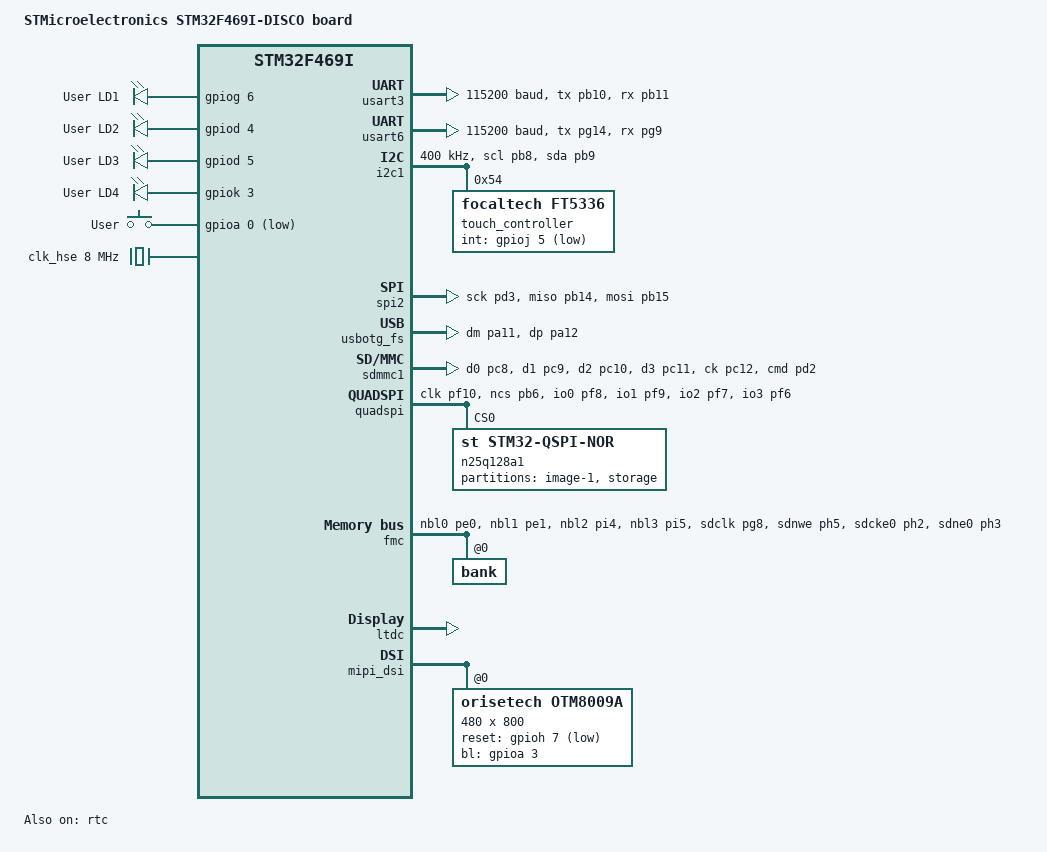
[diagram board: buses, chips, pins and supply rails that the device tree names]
/*
 * Copyright (c) 2017 Linaro Limited
 *
 * SPDX-License-Identifier: Apache-2.0
 */

/dts-v1/;
#include <st/f4/stm32f469Xi.dtsi>
#include <st/f4/stm32f469nihx-pinctrl.dtsi>
#include "arduino_r3_connector.dtsi"

/ {
	model = "STMicroelectronics STM32F469I-DISCO board";
	compatible = "st,stm32f469i-disco";

	chosen {
		zephyr,console = &usart3;
		zephyr,shell-uart = &usart3;
		zephyr,sram = &sram0;
		zephyr,flash = &flash0;
		zephyr,ccm = &ccm0;
		zephyr,flash-controller = &n25q128a1;
		zephyr,display = &ltdc;
		zephyr,keyboard-scan = &touch_controller;
	};

	leds {
		compatible = "gpio-leds";
		green_led_1: led_1 {
			gpios = <&gpiog 6 GPIO_ACTIVE_HIGH>;
			label = "User LD1";
		};
		orange_led_2: led_2 {
			gpios = <&gpiod 4 GPIO_ACTIVE_HIGH>;
			label = "User LD2";
		};
		red_led_3: led_3 {
			gpios = <&gpiod 5 GPIO_ACTIVE_HIGH>;
			label = "User LD3";
		};
		blue_led_4: led_4 {
			gpios = <&gpiok 3 GPIO_ACTIVE_HIGH>;
			label = "User LD4";
		};
	};

	gpio_keys {
		compatible = "gpio-keys";
		user_button: button {
			label = "User";
			gpios = <&gpioa 0 GPIO_ACTIVE_LOW>;
		};
	};

	sdram1: sdram@c0000000 {
		compatible = "zephyr,memory-region", "mmio-sram";
		device_type = "memory";
		reg = <0xc0000000 DT_SIZE_M(16)>;
		zephyr,memory-region = "SDRAM1";
	};

	aliases {
		led0 = &green_led_1;
		led1 = &orange_led_2;
		led2 = &red_led_3;
		led3 = &blue_led_4;
		sw0 = &user_button;
		kscan0 = &touch_controller;
		spi-flash0 = &n25q128a1;
	};
};

&clk_lsi {
	status = "okay";
};

&clk_hse {
	clock-frequency = <DT_FREQ_M(8)>;
	status = "okay";
};

&pll {
	div-m = <4>;
	mul-n = <180>;
	div-p = <2>;
	div-q = <6>;
	clocks = <&clk_hse>;
	status = "okay";
};

&pllsai {
	div-m = <4>;
	mul-n = <144>;
	div-p = <6>;
	div-q = <2>;
	div-r = <2>;
	clocks = <&clk_hse>;
	status = "okay";
};

&rcc {
	clocks = <&pll>;
	clock-frequency = <DT_FREQ_M(168)>;
	ahb-prescaler = <1>;
	apb1-prescaler = <4>;
	apb2-prescaler = <2>;
};

&usart3 {
	pinctrl-0 = <&usart3_tx_pb10 &usart3_rx_pb11>;
	pinctrl-names = "default";
	current-speed = <115200>;
	status = "okay";
};

&usart6 {
	pinctrl-0 = <&usart6_tx_pg14 &usart6_rx_pg9>;
	pinctrl-names = "default";
	current-speed = <115200>;
	status = "okay";
};

&i2c1 {
	pinctrl-0 = <&i2c1_scl_pb8 &i2c1_sda_pb9>;
	pinctrl-names = "default";
	status = "okay";
	clock-frequency = <I2C_BITRATE_FAST>;

	touch_controller: ft5336@54 {
		compatible = "focaltech,ft5336";
		reg = <0x54>;
		int-gpios = <&gpioj 5 GPIO_ACTIVE_LOW>;
	};
};

&spi2 {
	pinctrl-0 = <&spi2_sck_pd3 &spi2_miso_pb14 &spi2_mosi_pb15>;
	pinctrl-names = "default";
	cs-gpios = <&gpioh 6 (GPIO_ACTIVE_LOW | GPIO_PULL_UP)>;
	status = "okay";
};

zephyr_udc0: &usbotg_fs {
	pinctrl-0 = <&usb_otg_fs_dm_pa11 &usb_otg_fs_dp_pa12>;
	pinctrl-names = "default";
	status = "okay";
};

&rtc {
	clocks = <&rcc STM32_CLOCK_BUS_APB1 0x10000000>,
		 <&rcc STM32_SRC_LSI RTC_SEL(2)>;
	status = "okay";

	backup_regs {
		status = "okay";
	};
};

&sdmmc1 {
	status = "okay";
	pinctrl-0 = <&sdio_d0_pc8 &sdio_d1_pc9
		     &sdio_d2_pc10 &sdio_d3_pc11
		     &sdio_ck_pc12 &sdio_cmd_pd2>;
	pinctrl-names = "default";
	cd-gpios = <&gpiog 2 GPIO_ACTIVE_LOW>;
};

&quadspi {
	pinctrl-0 = <&quadspi_clk_pf10 &quadspi_bk1_ncs_pb6
		     &quadspi_bk1_io0_pf8 &quadspi_bk1_io1_pf9
		     &quadspi_bk1_io2_pf7 &quadspi_bk1_io3_pf6>;
	pinctrl-names = "default";
	status = "okay";

	n25q128a1: qspi-nor-flash@0 {
		compatible = "st,stm32-qspi-nor";
		reg = <0>;
		qspi-max-frequency = <72000000>;
		size = <DT_SIZE_M(16*8)>;
		status = "okay";

		partitions {
			compatible = "fixed-partitions";
			#address-cells = <1>;
			#size-cells = <1>;

			slot1_partition: partition@0 {
				label = "image-1";
				reg = <0x00000000 DT_SIZE_K(640)>;
				};

			storage_partition: partition@a0000 {
				label = "storage";
				reg = <0x000a0000 DT_SIZE_M(15)>;
			};
		};
	};
};


&fmc {
	pinctrl-0 = <&fmc_nbl0_pe0 &fmc_nbl1_pe1 &fmc_nbl2_pi4 &fmc_nbl3_pi5
		     &fmc_sdclk_pg8 &fmc_sdnwe_ph5 &fmc_sdcke0_ph2
		     &fmc_sdne0_ph3 &fmc_sdnras_pf11 &fmc_sdncas_pg15
		     &fmc_a0_pf0 &fmc_a1_pf1 &fmc_a2_pf2 &fmc_a3_pf3 &fmc_a4_pf4
		     &fmc_a5_pf5 &fmc_a6_pf12 &fmc_a7_pf13 &fmc_a8_pf14
		     &fmc_a9_pf15 &fmc_a10_pg0 &fmc_a11_pg1
		     &fmc_a14_pg4 &fmc_a15_pg5 &fmc_d0_pd14 &fmc_d1_pd15
		     &fmc_d2_pd0 &fmc_d3_pd1 &fmc_d4_pe7 &fmc_d5_pe8 &fmc_d6_pe9
		     &fmc_d7_pe10 &fmc_d8_pe11 &fmc_d9_pe12 &fmc_d10_pe13
		     &fmc_d11_pe14 &fmc_d12_pe15 &fmc_d13_pd8 &fmc_d14_pd9
		     &fmc_d15_pd10 &fmc_d16_ph8 &fmc_d17_ph9 &fmc_d18_ph10
			 &fmc_d19_ph11 &fmc_d20_ph12 &fmc_d21_ph13 &fmc_d22_ph14
			 &fmc_d23_ph15 &fmc_d24_pi0 &fmc_d25_pi1 &fmc_d26_pi2
			 &fmc_d27_pi3 &fmc_d28_pi6 &fmc_d29_pi7 &fmc_d30_pi9 &fmc_d31_pi10>;
	pinctrl-names = "default";
	status = "okay";

	sdram {
		status = "okay";
		power-up-delay = <100>;
		num-auto-refresh = <8>;
		mode-register = <0x220>;
		/*
		 * Auto refresh command shall be issued every 15.625 us
		 * and is calculated as ((15.625 * SDRAM_CLK_MHZ) - 20)
		 * Note: SDRAM_CLK_MHZ = HCLK_MHZ / 2 (84 MHz) rcc freq is 168 MHz
		 */
		refresh-rate = <1293>;
		bank@0 {
			reg = <0>;
			st,sdram-control = <STM32_FMC_SDRAM_NC_8
						STM32_FMC_SDRAM_NR_12
						STM32_FMC_SDRAM_MWID_32
						STM32_FMC_SDRAM_NB_4
						STM32_FMC_SDRAM_CAS_2
						STM32_FMC_SDRAM_SDCLK_PERIOD_2
						STM32_FMC_SDRAM_RBURST_ENABLE
						STM32_FMC_SDRAM_RPIPE_0>;
			st,sdram-timing = <2 6 4 6 2 2 2>;
		};
	};
};

&ltdc {
	status = "okay";
	ext-sdram = <&sdram1>;
	// pinctrl-names = "default";
	// pinctrl-0 = <>; /* use DSI */

	/* orisetech, otm8009a */
	width = <800>;
	height = <480>;
	hsync-pol = <STM32_LTDC_HSPOL_ACTIVE_LOW>;
	vsync-pol = <STM32_LTDC_VSPOL_ACTIVE_LOW>;
	de-pol = <STM32_LTDC_DEPOL_ACTIVE_LOW>;
	pclk-pol = <STM32_LTDC_PCPOL_ACTIVE_LOW>;
	hsync-duration = <2>;
	vsync-duration = <1>;
	hbp-duration = <34>;
	vbp-duration = <15>;
	hfp-duration = <34>;
	vfp-duration = <16>;

	def-back-color-red = <0>;
	def-back-color-green = <0>;
	def-back-color-blue = <0>;
};

&mipi_dsi {
	status = "okay";

	/* DSI HOST dedicated PLL
	 * refclk = CLK_IN = HSE = 8 MHz
	 * F_VCO = CLK_IN / pll-idf * 2 * pll-ndiv
	 * PHI = F_VCO / 2 / (1 << pll-odf) / 8 = lane_byte_clk
	 *     = 8 MHz / 2 * 2 * 125 / 2 / (1<<0) / 8 = 62.5 MHz
	 */
	pll-ndiv = <125>;
	pll-idf = <2>;
	pll-odf = <0>;

	vs-active-high;
	hs-active-high;
	de-active-high;
};

&mipi_dsi {
	otm8009a: otm8009a@0 {
		status = "okay";
		compatible = "orisetech,otm8009a";
		reg = <0x0>;
		height = <800>;
		width = <480>;
	};
};

&otm8009a {
	reset-gpios = <&gpioh 7 GPIO_ACTIVE_LOW>; //5 RESX Reset, active low PH7
	bl-gpios = <&gpioa 3 GPIO_ACTIVE_HIGH>;
	data-lanes = <2>;
	pixel-format = <MIPI_DSI_PIXFMT_RGB888>;
	rotation = <90>;
};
